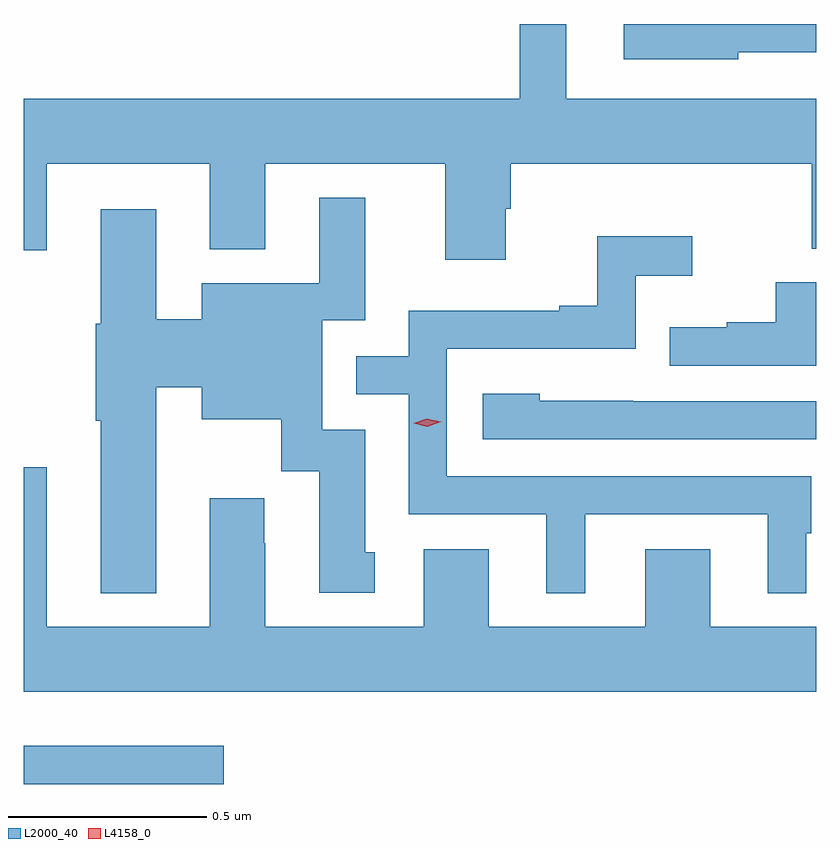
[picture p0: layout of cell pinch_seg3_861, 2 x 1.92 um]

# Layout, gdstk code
import gdstk
lib = gdstk.Library(unit=1e-6, precision=1e-09)
def R(c, l, rs):  # rectangles x0, y0, x1, y1
    for r in rs: c.add(gdstk.rectangle(r[:2], r[2:], *l))
def P(c, l, *ps):  # polygons
    for p in ps: c.add(gdstk.Polygon(p, *l))
L2000_40 = (2000, 40)
L4158_0 = (4158, 0)

pinch_seg3_861 = lib.new_cell('pinch_seg3_861')
R(pinch_seg3_861, L2000_40, [(725.343,745.971,725.848,746.068)])
P(pinch_seg3_861, L2000_40, [(726.559,747.423),(726.572,747.423),(726.572,747.536),(727.332,747.536),(727.332,747.322),(727.343,747.322),(727.343,747.7),(726.712,747.7),(726.712,747.889),(726.595,747.889),(726.595,747.7),(725.343,747.7),(725.343,747.318),(725.401,747.318),(725.401,747.536),(725.813,747.536),(725.813,747.32),(725.953,747.32),(725.953,747.536),(726.407,747.536),(726.407,747.294),(726.559,747.294)],
  [(727.146,747.818),(727.343,747.818),(727.343,747.889),(726.857,747.889),(726.857,747.8),(727.146,747.8)],
  [(725.677,746.972),(725.792,746.972),(725.792,746.891),(725.993,746.891),(725.993,746.76),(726.089,746.76),(726.089,746.454),(726.229,746.454),(726.229,746.556),(726.205,746.556),(726.205,746.865),(726.096,746.865),(726.096,747.141),(726.205,747.141),(726.205,747.451),(726.089,747.451),(726.089,747.235),(725.792,747.235),(725.792,747.144),(725.677,747.144),(725.677,747.421),(725.537,747.421),(725.537,747.132),(725.525,747.132),(725.525,746.888),(725.537,746.888),(725.537,746.453),(725.677,746.453)],
  [(726.76,746.652),(727.22,746.652),(727.22,746.453),(727.318,746.453),(727.318,746.604),(727.33,746.604),(727.33,746.748),(726.411,746.748),(726.411,747.069),(726.888,747.069),(726.888,747.254),(727.03,747.254),(727.03,747.353),(726.79,747.353),(726.79,747.178),(726.695,747.178),(726.695,747.165),(726.315,747.165),(726.315,747.051),(726.182,747.051),(726.182,746.955),(726.315,746.955),(726.315,746.652),(726.662,746.652),(726.662,746.453),(726.76,746.453)],
  [(727.343,747.237),(727.241,747.237),(727.241,747.136),(727.117,747.136),(727.117,747.124),(726.973,747.124),(726.973,747.027),(727.343,747.027)],
  [(727.343,746.937),(726.881,746.937),(726.881,746.938),(726.645,746.938),(726.645,746.956),(726.501,746.956),(726.501,746.841),(727.343,746.841)],
  [(727.343,746.368),(727.075,746.368),(727.075,746.563),(726.911,746.563),(726.911,746.368),(726.517,746.368),(726.517,746.563),(726.353,746.563),(726.353,746.368),(725.953,746.368),(725.953,746.579),(725.95,746.579),(725.95,746.692),(725.813,746.692),(725.813,746.368),(725.401,746.368),(725.401,746.77),(725.343,746.77),(725.343,746.204),(727.343,746.204)])
P(pinch_seg3_861, L4158_0, [(726.361,746.873),(726.327,746.881),(726.326,746.881),(726.327,746.881),(726.36,746.893),(726.395,746.885),(726.396,746.885),(726.395,746.885)])

lib.write_gds('pinch_seg3_861.gds')
